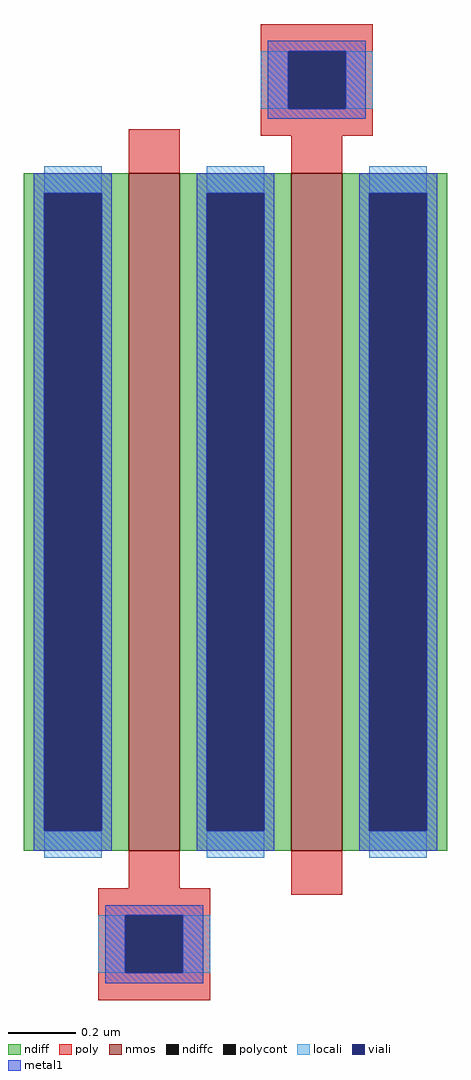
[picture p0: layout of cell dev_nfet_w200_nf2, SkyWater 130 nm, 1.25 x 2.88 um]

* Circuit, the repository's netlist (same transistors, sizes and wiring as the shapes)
* NGSPICE file created from dev_nfet_w200_nf2_flat.ext - technology: sky130B

.subckt dev_nfet_w200_nf2_flat
X0 a_n33_n200# a_n81_n288# a_n125_n200# VSUBS sky130_fd_pr__nfet_01v8 ad=0.33 pd=2.33 as=0.62 ps=4.62 w=2 l=0.15
X1 a_63_n200# a_15_222# a_n33_n200# VSUBS sky130_fd_pr__nfet_01v8 ad=0.62 pd=4.62 as=0.33 ps=2.33 w=2 l=0.15
.ends

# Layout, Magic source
magic
tech sky130B
magscale 1 2
<< nmos >>
rect -63 -200 -33 200
rect 33 -200 63 200
<< ndiff >>
rect -125 188 -63 200
rect -125 -188 -113 188
rect -79 -188 -63 188
rect -125 -200 -63 -188
rect -33 188 33 200
rect -33 -188 -17 188
rect 17 -188 33 188
rect -33 -200 33 -188
rect 63 188 125 200
rect 63 -188 79 188
rect 113 -188 125 188
rect 63 -200 125 -188
<< ndiffc >>
rect -113 -188 -79 188
rect -17 -188 17 188
rect 79 -188 113 188
<< poly >>
rect 15 272 81 288
rect 15 238 31 272
rect 65 238 81 272
rect -63 200 -33 226
rect 15 222 81 238
rect 33 200 63 222
rect -63 -222 -33 -200
rect -81 -238 -15 -222
rect 33 -226 63 -200
rect -81 -272 -65 -238
rect -31 -272 -15 -238
rect -81 -288 -15 -272
<< polycont >>
rect 31 238 65 272
rect -65 -272 -31 -238
<< locali >>
rect 15 238 31 272
rect 65 238 81 272
rect -113 188 -79 204
rect -113 -204 -79 -188
rect -17 188 17 204
rect -17 -204 17 -188
rect 79 188 113 204
rect 79 -204 113 -188
rect -81 -272 -65 -238
rect -31 -272 -15 -238
<< viali >>
rect 31 238 65 272
rect -113 -188 -79 188
rect -17 -188 17 188
rect 79 -188 113 188
rect -65 -272 -31 -238
<< metal1 >>
rect 19 272 77 278
rect 19 238 31 272
rect 65 238 77 272
rect 19 232 77 238
rect -119 188 -73 200
rect -119 -188 -113 188
rect -79 -188 -73 188
rect -119 -200 -73 -188
rect -23 188 23 200
rect -23 -188 -17 188
rect 17 -188 23 188
rect -23 -200 23 -188
rect 73 188 119 200
rect 73 -188 79 188
rect 113 -188 119 188
rect 73 -200 119 -188
rect -77 -238 -19 -232
rect -77 -272 -65 -238
rect -31 -272 -19 -238
rect -77 -278 -19 -272
<< end >>
